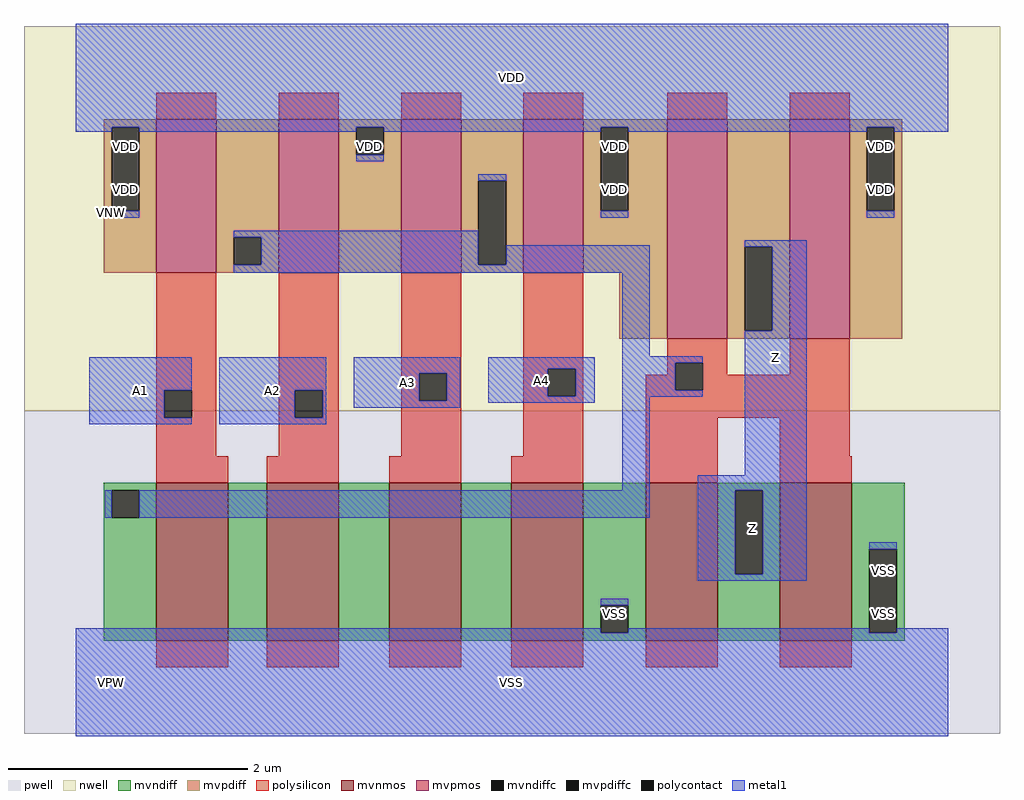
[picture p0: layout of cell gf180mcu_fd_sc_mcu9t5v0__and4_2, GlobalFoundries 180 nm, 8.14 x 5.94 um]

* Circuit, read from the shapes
.subckt gf180mcu_fd_sc_mcu9t5v0__and4_2 A1 A2 A3 A4 Z VDD VNW VPW VSS
XM1 n1 A1 n2 VPW nfet_06v0 w=1.32u l=0.6u
XM2 n3 A2 n1 VPW nfet_06v0 w=1.32u l=0.6u
XM3 n4 A3 n3 VPW nfet_06v0 w=1.32u l=0.6u
XM4 VSS A4 n4 VPW nfet_06v0 w=1.32u l=0.6u
XM5 Z n2 VSS VPW nfet_06v0 w=1.32u l=0.6u m=2
XM6 n2 A1 VDD VNW pfet_06v0 w=1.28u l=0.5u
XM7 VDD A2 n2 VNW pfet_06v0 w=1.28u l=0.5u
XM8 n2 A3 VDD VNW pfet_06v0 w=1.28u l=0.5u
XM9 VDD A4 n2 VNW pfet_06v0 w=1.28u l=0.5u
XM10 Z n2 VDD VNW pfet_06v0 w=1.83u l=0.5u m=2
.ends

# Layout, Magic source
magic
tech gf180mcuD
magscale 1 10
<< nwell >>
rect -86 453 1542 1094
<< pwell >>
rect -86 -86 1542 453
<< mvnmos >>
rect 135 69 255 333
rect 319 69 439 333
rect 523 69 643 333
rect 727 69 847 333
rect 951 69 1071 333
rect 1175 69 1295 333
<< mvpmos >>
rect 135 683 235 939
rect 339 683 439 939
rect 543 683 643 939
rect 747 683 847 939
rect 987 573 1087 939
rect 1191 573 1291 939
<< mvndiff >>
rect 47 320 135 333
rect 47 274 60 320
rect 106 274 135 320
rect 47 69 135 274
rect 255 69 319 333
rect 439 69 523 333
rect 643 69 727 333
rect 847 128 951 333
rect 847 82 876 128
rect 922 82 951 128
rect 847 69 951 82
rect 1071 320 1175 333
rect 1071 180 1100 320
rect 1146 180 1175 320
rect 1071 69 1175 180
rect 1295 222 1383 333
rect 1295 82 1324 222
rect 1370 82 1383 222
rect 1295 69 1383 82
<< mvpdiff >>
rect 47 926 135 939
rect 47 786 60 926
rect 106 786 135 926
rect 47 683 135 786
rect 235 742 339 939
rect 235 696 264 742
rect 310 696 339 742
rect 235 683 339 696
rect 439 926 543 939
rect 439 880 468 926
rect 514 880 543 926
rect 439 683 543 880
rect 643 836 747 939
rect 643 696 672 836
rect 718 696 747 836
rect 643 683 747 696
rect 847 926 987 939
rect 847 786 876 926
rect 922 786 987 926
rect 847 683 987 786
rect 907 573 987 683
rect 1087 726 1191 939
rect 1087 586 1116 726
rect 1162 586 1191 726
rect 1087 573 1191 586
rect 1291 926 1379 939
rect 1291 786 1320 926
rect 1366 786 1379 926
rect 1291 573 1379 786
<< mvndiffc >>
rect 60 274 106 320
rect 876 82 922 128
rect 1100 180 1146 320
rect 1324 82 1370 222
<< mvpdiffc >>
rect 60 786 106 926
rect 264 696 310 742
rect 468 880 514 926
rect 672 696 718 836
rect 876 786 922 926
rect 1116 586 1162 726
rect 1320 786 1366 926
<< polysilicon >>
rect 135 939 235 983
rect 339 939 439 983
rect 543 939 643 983
rect 747 939 847 983
rect 987 939 1087 983
rect 1191 939 1291 983
rect 135 487 235 683
rect 135 441 148 487
rect 194 441 235 487
rect 135 377 235 441
rect 339 487 439 683
rect 339 441 366 487
rect 412 441 439 487
rect 339 377 439 441
rect 543 515 643 683
rect 543 469 573 515
rect 619 469 643 515
rect 543 377 643 469
rect 747 523 847 683
rect 747 477 788 523
rect 834 477 847 523
rect 987 533 1087 573
rect 987 513 1000 533
rect 747 377 847 477
rect 135 333 255 377
rect 319 333 439 377
rect 523 333 643 377
rect 727 333 847 377
rect 951 487 1000 513
rect 1046 513 1087 533
rect 1191 513 1291 573
rect 1046 487 1291 513
rect 951 441 1291 487
rect 951 333 1071 441
rect 1175 377 1291 441
rect 1175 333 1295 377
rect 135 25 255 69
rect 319 25 439 69
rect 523 25 643 69
rect 727 25 847 69
rect 951 25 1071 69
rect 1175 25 1295 69
<< polycontact >>
rect 148 441 194 487
rect 366 441 412 487
rect 573 469 619 515
rect 788 477 834 523
rect 1000 487 1046 533
<< metal1 >>
rect 0 926 1456 1098
rect 0 918 60 926
rect 106 918 468 926
rect 514 918 876 926
rect 468 869 514 880
rect 60 775 106 786
rect 672 836 718 847
rect 264 742 672 753
rect 310 696 672 742
rect 922 918 1320 926
rect 876 775 922 786
rect 1366 918 1456 926
rect 1320 775 1366 786
rect 718 696 958 729
rect 264 683 958 696
rect 912 544 958 683
rect 1116 726 1220 737
rect 1162 586 1220 726
rect 23 487 194 542
rect 23 441 148 487
rect 23 430 194 441
rect 240 487 418 542
rect 240 441 366 487
rect 412 441 418 487
rect 464 515 642 542
rect 464 469 573 515
rect 619 469 642 515
rect 464 458 642 469
rect 688 523 866 542
rect 688 477 788 523
rect 834 477 866 523
rect 688 466 866 477
rect 912 533 1046 544
rect 912 487 1000 533
rect 912 476 1046 487
rect 240 430 418 441
rect 912 320 958 476
rect 1116 345 1220 586
rect 49 274 60 320
rect 106 274 958 320
rect 1038 320 1220 345
rect 1038 180 1100 320
rect 1146 180 1220 320
rect 1038 169 1220 180
rect 1324 222 1370 233
rect 876 128 922 139
rect 0 82 876 90
rect 922 82 1324 90
rect 1370 82 1456 90
rect 0 -90 1456 82
<< labels >>
flabel metal1 s 23 430 194 542 0 FreeSans 200 0 0 0 A1
port 1 nsew default input
flabel metal1 s 240 430 418 542 0 FreeSans 200 0 0 0 A2
port 2 nsew default input
flabel metal1 s 464 458 642 542 0 FreeSans 200 0 0 0 A3
port 3 nsew default input
flabel metal1 s 688 466 866 542 0 FreeSans 200 0 0 0 A4
port 4 nsew default input
flabel metal1 s 0 918 1456 1098 0 FreeSans 200 0 0 0 VDD
port 6 nsew power bidirectional abutment
flabel metal1 s 1324 139 1370 233 0 FreeSans 200 0 0 0 VSS
port 9 nsew ground bidirectional abutment
flabel metal1 s 1116 345 1220 737 0 FreeSans 200 0 0 0 Z
port 5 nsew default output
flabel nwell s 10 734 110 834 0 FreeSans 400 0 0 0 VNW
port 7 nsew power bidirectional
flabel pwell s 10 -50 110 50 0 FreeSans 400 0 0 0 VPW
port 8 nsew ground bidirectional
rlabel metal1 s 1038 169 1220 345 1 Z
port 5 nsew default output
rlabel metal1 s 1320 869 1366 918 1 VDD
port 6 nsew power bidirectional abutment
rlabel metal1 s 876 869 922 918 1 VDD
port 6 nsew power bidirectional abutment
rlabel metal1 s 468 869 514 918 1 VDD
port 6 nsew power bidirectional abutment
rlabel metal1 s 60 869 106 918 1 VDD
port 6 nsew power bidirectional abutment
rlabel metal1 s 1320 775 1366 869 1 VDD
port 6 nsew power bidirectional abutment
rlabel metal1 s 876 775 922 869 1 VDD
port 6 nsew power bidirectional abutment
rlabel metal1 s 60 775 106 869 1 VDD
port 6 nsew power bidirectional abutment
rlabel metal1 s 1324 90 1370 139 1 VSS
port 9 nsew ground bidirectional abutment
rlabel metal1 s 876 90 922 139 1 VSS
port 9 nsew ground bidirectional abutment
rlabel metal1 s 0 -90 1456 90 1 VSS
port 9 nsew ground bidirectional abutment
<< properties >>
string FIXED_BBOX 0 0 1456 1008
string GDS_END 1158662
string GDS_FILE $PDKPATH/libs.ref/gf180mcu_fd_sc_mcu9t5v0/gds/gf180mcu_fd_sc_mcu9t5v0.gds
string GDS_START 1154406
string LEFclass core
string LEFsite GF018hv5v_green_sc9
string LEFsymmetry X Y
<< end >>
